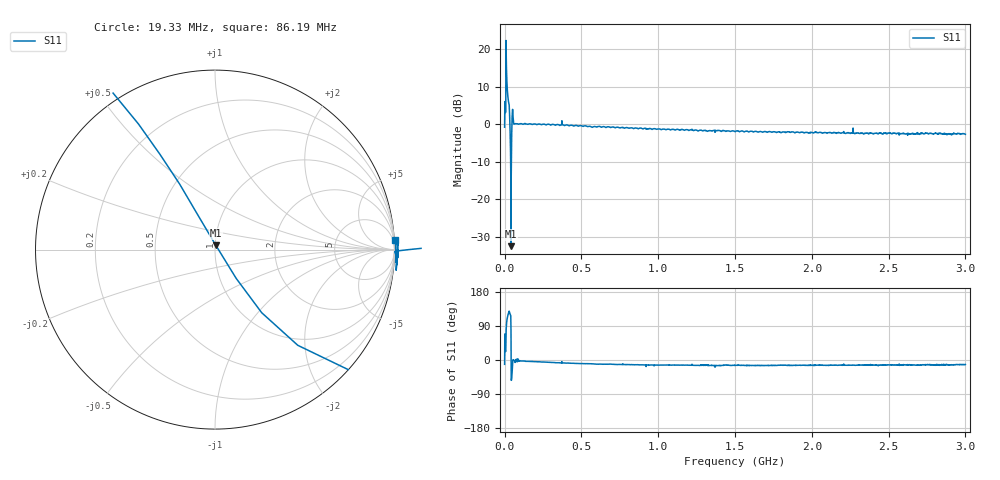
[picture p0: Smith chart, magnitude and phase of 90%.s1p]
# HZ S RI R 50
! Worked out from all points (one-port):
!   2020 points, 10 kHz to 3 GHz, reference 50 ohm
!   lowest |S11| = -32.5 dB at 41.61 MHz (marker M1), VSWR 1.05, Z = 50.4 + j2.35 ohm
!   |S11| at or under -10 dB: 39.28 MHz to 43.98 MHz (4.701 MHz wide, 11.3 % of centre)
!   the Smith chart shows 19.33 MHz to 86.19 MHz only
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10000  0.8944 -0.1802
2981758  1.347 0.9639
7439395  1.342 0.5718
1.635467e7  -1.013 3.027
1.784055e7  -1.054 2.639
2.378406e7  -1.107 1.787
2.526994e7  -1.113 1.664
2.675582e7  -1.122 1.566
2.82417e7  -1.13 1.484
2.972758e7  -1.141 1.416
3.269934e7  -0.7433 1.051
3.56711e7  -0.4261 0.6995
4.161461e7  0.00497 0.0232
4.755813e7  0.742 -0.6686
5.350164e7  1.367 -0.0539
5.64734e7  1.148 0.0069
5.944516e7  1.018 -0.00723
6.39028e7  1.007 -0.0279
6.836043e7  1.01 -0.1153
7.578983e7  1.017 0.0331
3.759374e8  0.9756 -0.1318
7.503789e8  0.8712 -0.1847
1.126306e9  0.8328 -0.1947
1.500748e9  0.7707 -0.198
1.875189e9  0.766 -0.1964
2.251117e9  0.7345 -0.1777
2.625558e9  0.7329 -0.1769
3e9  0.7183 -0.1502
